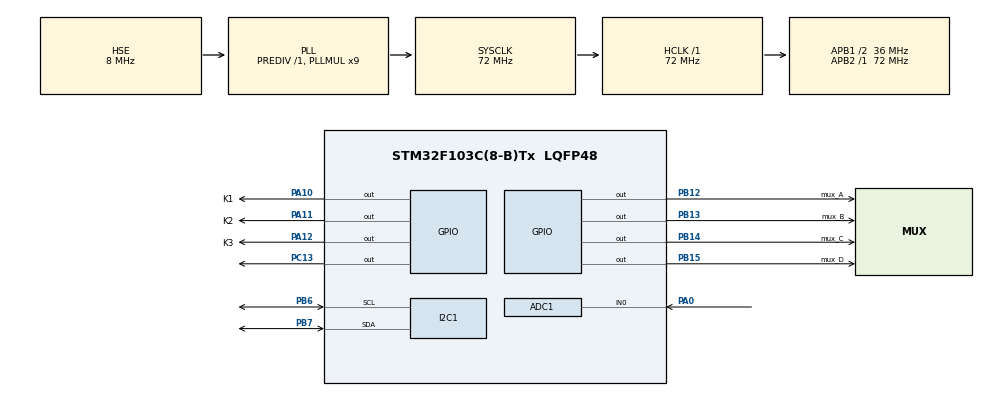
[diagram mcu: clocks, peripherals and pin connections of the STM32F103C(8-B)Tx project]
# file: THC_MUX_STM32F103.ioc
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ADC1.Channel-0\#ChannelRegularConversion=ADC_CHANNEL_0
ADC1.NbrOfConversionFlag=1
ADC1.Rank-0\#ChannelRegularConversion=1
ADC1.SamplingTime-0\#ChannelRegularConversion=ADC_SAMPLETIME_7CYCLES_5
ADC1.master=1
I2C1.I2C_Mode=I2C_Fast
Mcu.Family=STM32F1
Mcu.Name=STM32F103C(8-B)Tx
Mcu.Package=LQFP48
NVIC.ADC1_2_IRQn=true\:0\:0\:false\:false\:true\:true\:true
NVIC.PriorityGroup=NVIC_PRIORITYGROUP_4
NVIC.TIM2_IRQn=true\:0\:0\:false\:false\:true\:true\:true
PA0-WKUP.Signal=ADCx_IN0
PA10.GPIO_Label=K1
PA10.Signal=GPIO_Output
PA11.GPIO_Label=K2
PA11.Signal=GPIO_Output
PA12.GPIO_Label=K3
PA12.Signal=GPIO_Output
PA13.Mode=Serial_Wire
PA13.Signal=SYS_JTMS-SWDIO
PA14.Mode=Serial_Wire
PA14.Signal=SYS_JTCK-SWCLK
PB12.GPIO_Label=mux_A
PB12.Signal=GPIO_Output
PB13.GPIO_Label=mux_B
PB13.Signal=GPIO_Output
PB14.GPIO_Label=mux_C
PB14.Signal=GPIO_Output
PB15.GPIO_Label=mux_D
PB15.Signal=GPIO_Output
PB6.Mode=I2C
PB6.Signal=I2C1_SCL
PB7.Mode=I2C
PB7.Signal=I2C1_SDA
PC13-TAMPER-RTC.Signal=GPIO_Output
PD0-OSC_IN.Mode=HSE-External-Oscillator
PD0-OSC_IN.Signal=RCC_OSC_IN
PD1-OSC_OUT.Mode=HSE-External-Oscillator
PD1-OSC_OUT.Signal=RCC_OSC_OUT
ProjectManager.HeapSize=0x200
ProjectManager.StackSize=0x400
ProjectManager.TargetToolchain=STM32CubeIDE
RCC.ADCPresc=RCC_ADCPCLK2_DIV6
RCC.AHBFreq_Value=72000000
RCC.APB1CLKDivider=RCC_HCLK_DIV2
RCC.APB1Freq_Value=36000000
RCC.APB1TimFreq_Value=72000000
RCC.APB2Freq_Value=72000000
RCC.APB2TimFreq_Value=72000000
RCC.HCLKFreq_Value=72000000
RCC.PLLMUL=RCC_PLL_MUL9
RCC.PLLSourceVirtual=RCC_PLLSOURCE_HSE
RCC.SYSCLKFreq_VALUE=72000000
RCC.SYSCLKSource=RCC_SYSCLKSOURCE_PLLCLK
RCC.USBFreq_Value=72000000
SH.ADCx_IN0.0=ADC1_IN0,IN0
TIM2.Period=923-1
TIM2.Prescaler=10-1
VP_TIM2_VS_ClockSourceINT.Mode=Internal
board=custom

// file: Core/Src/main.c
/* USER CODE BEGIN Header */
/**
  ******************************************************************************
  * @file           : main.c
  * @brief          : Main program body
  ******************************************************************************
  * @attention
  *
  * <h2><center>&copy; Copyright (c) 2021 STMicroelectronics.
  * All rights reserved.</center></h2>
  *
  * This software component is licensed by ST under BSD 3-Clause license,
  * the "License"; You may not use this file except in compliance with the
  * License. You may obtain a copy of the License at:
  *                        opensource.org/licenses/BSD-3-Clause
  *
  ******************************************************************************
  */
/* USER CODE END Header */
#include "main.h"
#include "adc.h"
#include "i2c.h"
#include "tim.h"
#include "gpio.h"

/* USER CODE BEGIN Includes */
#include "math.h"
#include "stdio.h"
#include "ssd1306.h"

/* USER CODE END Includes */

/* USER CODE BEGIN PD */
#define MUESTRAS 156
#define UMBRAL_L 8076964
#define UMBRAL_H 16273156
/* USER CODE END PD */

/* USER CODE BEGIN PV */
//flags
uint8_t flag_adcStart = 0;
uint8_t flag_adcDone = 0;
uint8_t flag_print = 0;

//armonicos
uint32_t arm1[MUESTRAS],
			arm3[MUESTRAS],
			arm5[MUESTRAS],
			arm7[MUESTRAS],
			arm11[MUESTRAS],
			arm13[MUESTRAS],
			rms1=0,
			rms3=0,
			rms5=0,
			rms7=0,
			rms11=0,
			rms13=0;

uint8_t i=0;

uint8_t muxABC = 0;
uint8_t last_mux_ABC = 0;

uint8_t rango = 0;
uint8_t reles[] = {0b001, 0b101, 0b111, 0b000, 0b100, 0b110};

char texto[25];
/* USER CODE END PV */

void SystemClock_Config(void);
/* USER CODE BEGIN PFP */

void checkRango (void){
	uint32_t max = 0;
	for (uint8_t j = 0; j < MUESTRAS; j++){
		if (arm1[j] > max)
			max = arm1[j];
	}

	if (max > UMBRAL_H && rango < 5){
		rango++;
		GPIOA->BSRR = (uint32_t)(reles[rango-1] << 26u) + (uint32_t)(reles[rango] << 10u);
	}else if (max < UMBRAL_L && rango > 0){
		rango--;
		GPIOA->BSRR = (uint32_t)(reles[rango+1] << 26u) + (uint32_t)(reles[rango] << 10u);
	}
}

void RMS (void){

	rms1=0;
	rms3=0;
	rms5=0;
	rms7=0;
	rms11=0;
	rms13=0;

	for (uint8_t j = 0; j < MUESTRAS; j++){
		rms1+=arm1[j];
		rms3+=arm3[j];
		rms5+=arm5[j];
		rms7+=arm7[j];
		rms11+=arm11[j];
		rms13+=arm13[j];
	}

	rms1/=MUESTRAS;
	rms3/=MUESTRAS;
	rms5/=MUESTRAS;
	rms7/=MUESTRAS;
	rms11/=MUESTRAS;
	rms13/=MUESTRAS;

	rms1=sqrt(rms1);
	rms3=sqrt(rms3);
	rms5=sqrt(rms5);
	rms7=sqrt(rms7);
	rms11=sqrt(rms11);
	rms13=sqrt(rms13);

}

/* USER CODE END PFP */

int main(void)
{

  /* MCU Configuration--------------------------------------------------------*/

  /* Reset of all peripherals, Initializes the Flash interface and the Systick. */
  HAL_Init();

  /* Configure the system clock */
  SystemClock_Config();

  /* Initialize all configured peripherals */
  MX_GPIO_Init();
  MX_ADC1_Init();
  MX_TIM2_Init();
  MX_I2C1_Init();
  /* USER CODE BEGIN 2 */
  SSD1306_Init();
  SSD1306_Clear();
  HAL_TIM_Base_Start_IT(&htim2);

  /* USER CODE END 2 */

  /* Infinite loop */
  /* USER CODE BEGIN WHILE */
  while (1)
  {
	  if (flag_adcStart){
		  GPIOB->BSRR = (uint32_t)(last_mux_ABC << 28u) + (uint32_t)(muxABC << 12u);
		  //HAL_GPIO_WritePin(GPIOx, GPIO_Pin, PinState) //se conserva unicamente para hallar la definicion de la funcion
		  HAL_ADC_Start_IT(&hadc1);
//		  HAL_ADC_Start(&hadc1);
//		  flag_adcDone = 1;
		  flag_adcStart = 0;
	  }//end if flag_adcStart

	  if (flag_adcDone){
		  last_mux_ABC = muxABC;
		  switch (muxABC){
		  	  case 0:
		  		  arm1[i] = HAL_ADC_GetValue(&hadc1);
		  		  arm1 [i] = pow(arm1[i],2);
		  		  muxABC++;
			  break;
		  	  case 1:
		  		  arm3[i] = HAL_ADC_GetValue(&hadc1);
		  		  arm3 [i] = pow(arm3[i],2);
		  		  muxABC++;
			  break;
		  	  case 2:
		  		  arm5[i] = HAL_ADC_GetValue(&hadc1);
		  		  arm5 [i] = pow(arm5[i],2);
		  		  muxABC++;
			  break;

		  	  case 3:
		  		  arm7[i] = HAL_ADC_GetValue(&hadc1);
		  		  arm7 [i] = pow(arm7[i],2);
		  		  muxABC++;
			  break;
		  	  case 4:
		  		  arm11[i] = HAL_ADC_GetValue(&hadc1);
		  		  arm11 [i] = pow(arm11[i],2);
		  		  muxABC++;
			  break;
		  	  case 5:
		  		  arm13[i] = HAL_ADC_GetValue(&hadc1);
		  		  arm13[i] = pow(arm13[i],2);

		  		  i++;
		  		  if (i > MUESTRAS-1){
		  			  checkRango();
		  			  RMS();
		  			  flag_print = 1;
		  			  i = 0;
		  		  }
		  		  muxABC = 0;
			  break;
		  }

		  flag_adcDone = 0;
	  }//end if flag_adcDone

	  if (flag_print){

		  SSD1306_Fill(0);
		  SSD1306_GotoXY(0, 0);
		  sprintf (texto, "Armonicos:");
		  SSD1306_Puts(texto, &Font_7x10, 1);
		  SSD1306_GotoXY(0, 11);
		  sprintf (texto, "nivel 1ro: %d", (int)(rms1));
		  SSD1306_Puts(texto, &Font_7x10, 1);
		  SSD1306_GotoXY(0, 22);
		  sprintf (texto, "3ro: %d 5to: %d", (int)(rms3*100/rms1), (int)(rms5*100/rms1));
		  SSD1306_Puts(texto, &Font_7x10, 1);
		  SSD1306_GotoXY(0, 33);
		  sprintf (texto, "7mo: %d 11vo: %d", (int)(rms7*100/rms1), (int)(rms11*100/rms1));
		  SSD1306_Puts(texto, &Font_7x10, 1);
		  SSD1306_GotoXY(0, 44);
		  sprintf (texto, "13vo: %d", (int)(rms13*100/rms1));
		  SSD1306_Puts(texto, &Font_7x10, 1);
		  SSD1306_UpdateScreen();

		  flag_print = 0;
	  }

    /* USER CODE END WHILE */

  }
}

void SystemClock_Config(void)
{
  RCC_OscInitTypeDef RCC_OscInitStruct = {0};
  RCC_ClkInitTypeDef RCC_ClkInitStruct = {0};
  RCC_PeriphCLKInitTypeDef PeriphClkInit = {0};

  /** Initializes the RCC Oscillators according to the specified parameters
  * in the RCC_OscInitTypeDef structure.
  */
  RCC_OscInitStruct.OscillatorType = RCC_OSCILLATORTYPE_HSE;
  RCC_OscInitStruct.HSEState = RCC_HSE_ON;
  RCC_OscInitStruct.HSEPredivValue = RCC_HSE_PREDIV_DIV1;
  RCC_OscInitStruct.HSIState = RCC_HSI_ON;
  RCC_OscInitStruct.PLL.PLLState = RCC_PLL_ON;
  RCC_OscInitStruct.PLL.PLLSource = RCC_PLLSOURCE_HSE;
  RCC_OscInitStruct.PLL.PLLMUL = RCC_PLL_MUL9;
  if (HAL_RCC_OscConfig(&RCC_OscInitStruct) != HAL_OK)
  {
    Error_Handler();
  }
  /** Initializes the CPU, AHB and APB buses clocks
  */
  RCC_ClkInitStruct.ClockType = RCC_CLOCKTYPE_HCLK|RCC_CLOCKTYPE_SYSCLK
                              |RCC_CLOCKTYPE_PCLK1|RCC_CLOCKTYPE_PCLK2;
  RCC_ClkInitStruct.SYSCLKSource = RCC_SYSCLKSOURCE_PLLCLK;
  RCC_ClkInitStruct.AHBCLKDivider = RCC_SYSCLK_DIV1;
  RCC_ClkInitStruct.APB1CLKDivider = RCC_HCLK_DIV2;
  RCC_ClkInitStruct.APB2CLKDivider = RCC_HCLK_DIV1;

  if (HAL_RCC_ClockConfig(&RCC_ClkInitStruct, FLASH_LATENCY_2) != HAL_OK)
  {
    Error_Handler();
  }
  PeriphClkInit.PeriphClockSelection = RCC_PERIPHCLK_ADC;
  PeriphClkInit.AdcClockSelection = RCC_ADCPCLK2_DIV6;
  if (HAL_RCCEx_PeriphCLKConfig(&PeriphClkInit) != HAL_OK)
  {
    Error_Handler();
  }
}

/* USER CODE BEGIN 4 */
void HAL_TIM_PeriodElapsedCallback(TIM_HandleTypeDef *htim){
	flag_adcStart = 1;
}

void HAL_ADC_ConvCpltCallback(ADC_HandleTypeDef* hadc){
	flag_adcDone = 1;
}

/* USER CODE END 4 */

void Error_Handler(void)
{
}

/************************ (C) COPYRIGHT STMicroelectronics *****END OF FILE****/
